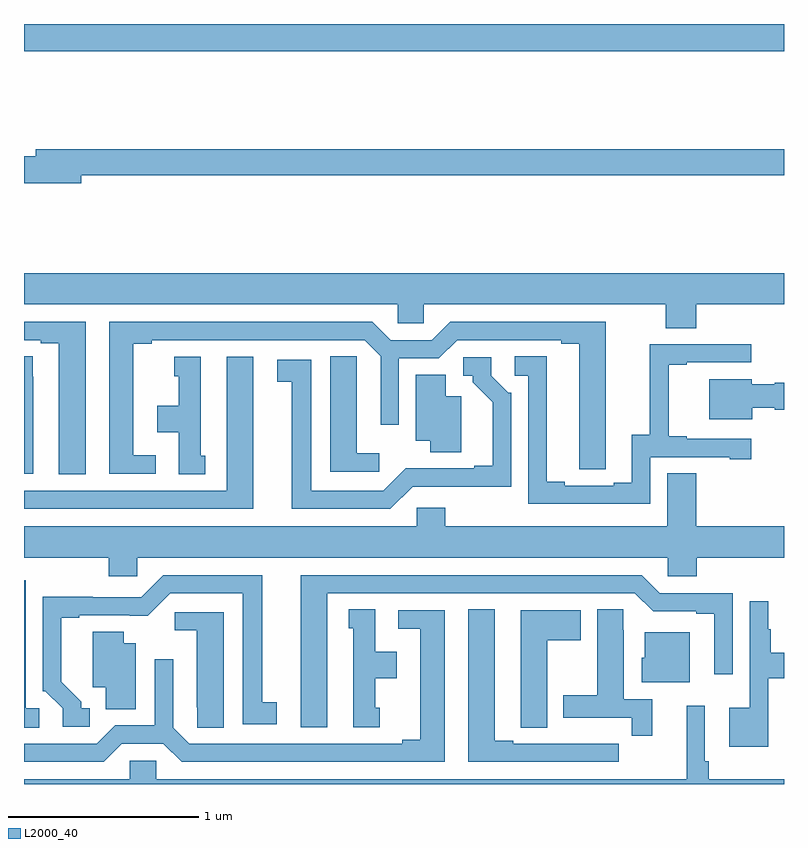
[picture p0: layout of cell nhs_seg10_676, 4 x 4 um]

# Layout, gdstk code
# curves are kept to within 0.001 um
import gdstk
lib = gdstk.Library(unit=1e-6, precision=1e-09)
def R(c, l, rs):  # rectangles x0, y0, x1, y1
    for r in rs: c.add(gdstk.rectangle(r[:2], r[2:], *l))
def P(c, l, *ps):  # polygons
    for p in ps: c.add(gdstk.Polygon(p, *l))
L2000_40 = (2000, 40)

nhs_seg10_676 = lib.new_cell('nhs_seg10_676')
R(nhs_seg10_676, L2000_40, [(145,1260.356,149,1260.5)])
P(nhs_seg10_676, L2000_40, [(145.3,1259.704),(149,1259.704),(149,1259.84),(145.061,1259.84),(145.061,1259.804),(145,1259.804),(145,1259.662),(145.3,1259.662)],
  [(148.538,1259.024),(149,1259.024),(149,1259.188),(145,1259.188),(145,1259.024),(146.967,1259.024),(146.967,1258.926),(147.105,1258.926),(147.105,1259.024),(148.378,1259.024),(148.378,1258.9),(148.538,1258.9)],
  [(145.324,1258.932),(145,1258.932),(145,1258.836),(145.088,1258.836),(145.088,1258.821),(145.184,1258.821),(145.184,1258.129),(145.324,1258.129)],
  [(145.693,1258.23),(145.576,1258.23),(145.576,1258.816),(145.672,1258.816),(145.672,1258.836),(146.793,1258.836),(146.877,1258.752),(146.877,1258.392),(146.973,1258.392),(146.973,1258.74),(147.183,1258.74),(147.279,1258.836),(147.827,1258.836),(147.827,1258.816),(147.923,1258.816),(147.923,1258.156),(148.062,1258.156),(148.063,1258.932),(147.243,1258.932),(147.147,1258.836),(146.929,1258.836),(146.833,1258.932),(145.448,1258.932),(145.448,1258.134),(145.693,1258.134)],
  [(148.296,1258.221),(148.715,1258.221),(148.715,1258.209),(148.828,1258.209),(148.828,1258.317),(148.489,1258.317),(148.489,1258.33),(148.394,1258.33),(148.394,1258.707),(148.489,1258.707),(148.489,1258.719),(148.828,1258.719),(148.828,1258.815),(148.294,1258.815),(148.294,1258.337),(148.199,1258.337),(148.199,1258.086),(148.103,1258.086),(148.103,1258.071),(147.847,1258.071),(147.847,1258.091),(147.751,1258.091),(147.751,1258.751),(147.582,1258.751),(147.582,1258.65),(147.654,1258.65),(147.654,1257.975),(148.296,1257.975)],
  [(145.048,1258.643),(145.047,1258.643),(145.047,1258.751),(145,1258.751),(145,1258.133),(145.048,1258.133)],
  [(146.869,1258.24),(146.752,1258.24),(146.752,1258.643),(146.751,1258.643),(146.751,1258.751),(146.612,1258.751),(146.612,1258.143),(146.869,1258.143)],
  [(146.206,1258.75),(146.066,1258.75),(146.066,1258.044),(145,1258.044),(145,1257.948),(146.206,1257.948)],
  [(145.954,1258.227),(145.93,1258.227),(145.93,1258.75),(145.79,1258.75),(145.79,1258.647),(145.814,1258.647),(145.814,1258.492),(145.7,1258.492),(145.7,1258.352),(145.814,1258.352),(145.814,1258.129),(145.954,1258.129)],
  [(147.045,1258.065),(147.564,1258.064),(147.564,1258.56),(147.549,1258.56),(147.459,1258.65),(147.459,1258.746),(147.312,1258.746),(147.312,1258.65),(147.362,1258.65),(147.362,1258.615),(147.467,1258.51),(147.467,1258.174),(147.371,1258.174),(147.371,1258.161),(147.01,1258.162),(146.892,1258.044),(146.512,1258.044),(146.512,1258.734),(146.334,1258.734),(146.334,1258.618),(146.408,1258.618),(146.408,1257.948),(146.928,1257.948)],
  [(147.301,1258.54),(147.22,1258.54),(147.22,1258.655),(147.062,1258.655),(147.062,1258.307),(147.137,1258.307),(147.137,1258.246),(147.301,1258.246)],
  [(148.834,1258.481),(148.95,1258.481),(148.95,1258.469),(149,1258.469),(149,1258.611),(148.95,1258.611),(148.95,1258.603),(148.83,1258.603),(148.83,1258.63),(148.607,1258.63),(148.607,1258.421),(148.834,1258.421)],
  [(145.596,1257.692),(148.389,1257.692),(148.389,1257.594),(148.541,1257.594),(148.541,1257.692),(149,1257.692),(149,1257.856),(148.538,1257.856),(148.538,1258.136),(148.385,1258.136),(148.385,1257.856),(147.218,1257.856),(147.218,1257.954),(147.066,1257.954),(147.066,1257.856),(145,1257.856),(145,1257.692),(145.445,1257.692),(145.445,1257.594),(145.596,1257.594)],
  [(146.596,1257.504),(148.215,1257.504),(148.311,1257.408),(148.538,1257.408),(148.538,1257.396),(148.634,1257.396),(148.634,1257.078),(148.731,1257.078),(148.731,1257.504),(148.347,1257.504),(148.251,1257.6),(146.456,1257.6),(146.456,1256.799),(146.596,1256.799)],
  [(145.345,1256.898),(145.3,1256.898),(145.3,1256.933),(145.195,1257.038),(145.195,1257.375),(145.291,1257.375),(145.291,1257.387),(145.652,1257.386),(145.77,1257.504),(146.15,1257.504),(146.15,1256.814),(146.329,1256.814),(146.329,1256.93),(146.254,1256.93),(146.254,1257.6),(145.734,1257.6),(145.617,1257.483),(145.361,1257.483),(145.361,1257.485),(145.098,1257.485),(145.098,1256.988),(145.113,1256.988),(145.203,1256.898),(145.203,1256.802),(145.345,1256.802)],
  [(145.081,1256.898),(145.008,1256.898),(145.008,1257.573),(145,1257.573),(145,1256.797),(145.081,1256.797)],
  [(148.918,1257.056),(149,1257.056),(149,1257.19),(148.93,1257.19),(148.93,1257.314),(148.918,1257.314),(148.918,1257.463),(148.821,1257.463),(148.821,1256.902),(148.712,1256.902),(148.712,1256.696),(148.918,1256.696)],
  [(148.307,1256.946),(148.156,1256.946),(148.156,1257.308),(148.155,1257.308),(148.155,1257.419),(148.016,1257.419),(148.016,1256.967),(147.839,1256.967),(147.839,1256.85),(148.198,1256.85),(148.198,1256.754),(148.307,1256.754)],
  [(146.872,1256.901),(146.848,1256.901),(146.848,1257.056),(146.962,1257.056),(146.962,1257.196),(146.848,1257.196),(146.848,1257.419),(146.708,1257.419),(146.708,1257.321),(146.732,1257.321),(146.732,1256.799),(146.872,1256.799)],
  [(148.129,1256.712),(148.016,1256.712),(148.016,1256.713),(147.85,1256.713),(147.85,1256.712),(147.574,1256.712),(147.574,1256.727),(147.478,1256.727),(147.478,1257.419),(147.338,1257.419),(147.338,1256.616),(148.129,1256.616)],
  [(147.754,1257.256),(147.931,1257.256),(147.931,1257.415),(147.614,1257.415),(147.614,1256.905),(147.615,1256.905),(147.615,1256.797),(147.754,1256.797)],
  [(145.515,1256.712),(145.733,1256.712),(145.829,1256.616),(147.214,1256.616),(147.214,1257.414),(146.97,1257.414),(146.97,1257.318),(147.086,1257.318),(147.086,1256.732),(146.99,1256.732),(146.99,1256.712),(145.869,1256.712),(145.785,1256.796),(145.785,1257.157),(145.689,1257.157),(145.689,1256.808),(145.479,1256.808),(145.383,1256.712),(145,1256.712),(145,1256.616),(145.419,1256.616)],
  [(146.05,1257.405),(145.794,1257.405),(145.794,1257.308),(145.91,1257.308),(145.91,1256.905),(145.911,1256.905),(145.911,1256.797),(146.05,1256.797)],
  [(145.588,1257.241),(145.525,1257.241),(145.525,1257.302),(145.361,1257.302),(145.361,1257.008),(145.43,1257.008),(145.43,1256.893),(145.588,1256.893)],
  [(148.504,1257.298),(148.268,1257.298),(148.268,1257.165),(148.25,1257.165),(148.25,1257.035),(148.504,1257.035)],
  [(149,1256.524),(148.604,1256.524),(148.604,1256.62),(148.584,1256.62),(148.584,1256.911),(148.487,1256.911),(148.487,1256.524),(145.695,1256.524),(145.695,1256.622),(145.557,1256.622),(145.557,1256.524),(145,1256.524),(145,1256.5),(149,1256.5)])

lib.write_gds('nhs_seg10_676.gds')
